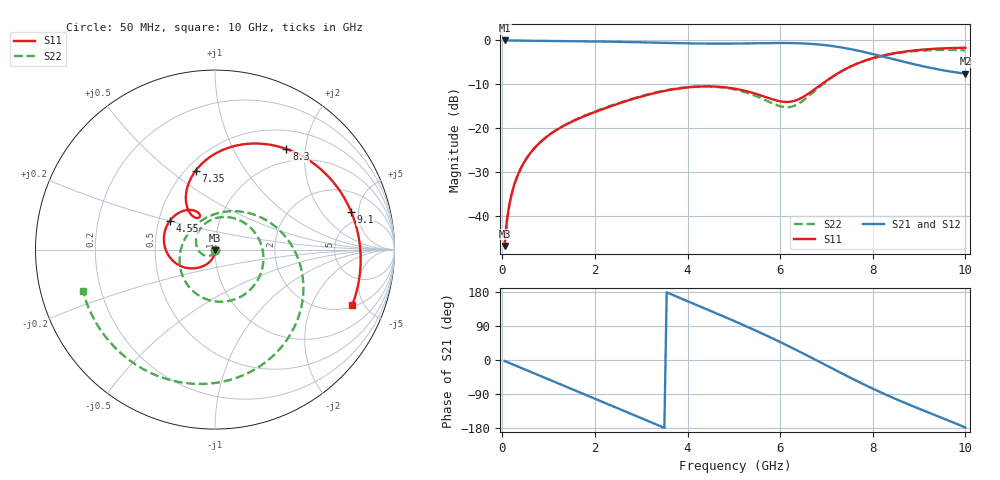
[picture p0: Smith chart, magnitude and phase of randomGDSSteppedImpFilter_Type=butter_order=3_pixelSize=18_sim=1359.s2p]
! freq	dB(S11)	phase(S11)	dB(S12)	phase(S12)
!  dB(S21)	phase(S21)	dB(S22)	phase(S22)
!S-par simulation data
#  GHz  S  DB  R 50
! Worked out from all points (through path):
!   200 points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, 50 MHz to 10 GHz, reference 50 ohm
!   highest |S21| = 0.00 dB at 50 MHz (marker M1); lowest = -7.6 dB at 10 GHz (marker M2)
!   group delay of S21, straight-line fit = 152 ps
!   lowest |S11| = -46.9 dB at 50 MHz (marker M3), VSWR 1.01, Z = 50 - j0.453 ohm
!   |S11| at or under -10 dB: start of sweep to 6.89 GHz
!   |S22| runs from -46.9 to -2.2 dB; largest |S21 - S12| = 0
!   S11 on the Smith chart (normalised r, x): 50 MHz: 1.00, -0.01; 4.55 GHz: 0.57, +0.20; 7.35 GHz: 0.56, +0.62; 8.3 GHz: 0.78, +1.66; 9.1 GHz: 3.70, +4.10; 10 GHz: 2.15, -4.12
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0.05  -46.88 -87.4  -0.00 -2.6  -0.00 -2.6  -46.92 -90.2
0.1  -41.04 -90.5  -0.01 -5.2  -0.01 -5.2  -41.09 -95.5
0.2  -35.10 -94.5  -0.02 -10.3  -0.02 -10.3  -35.15 -104.4
0.5  -27.28 -103.5  -0.04 -25.6  -0.04 -25.6  -27.33 -128.5
1.15  -20.55 -119.6  -0.11 -58.7  -0.11 -58.7  -20.52 -179.7
1.75  -17.37 -132.2  -0.18 -89.3  -0.18 -89.3  -17.28 131.6
2.5  -14.44 -147.6  -0.31 -127.7  -0.31 -127.7  -14.32 70.6
2.95  -12.95 -158.7  -0.42 -150.8  -0.42 -150.8  -12.84 35.9
3.4  -11.74 -171.9  -0.53 -173.9  -0.53 -173.9  -11.64 3.3
3.95  -10.77 169.7  -0.66 157.8  -0.66 157.8  -10.71 -34.0
4.55  -10.50 147.8  -0.73 126.9  -0.73 126.9  -10.54 -73.2
5.05  -11.05 130.0  -0.71 100.6  -0.71 100.6  -11.26 -107.2
5.85  -13.48 113.6  -0.60 56.2  -0.60 56.2  -14.42 179.7
6.25  -13.92 119.4  -0.61 32.5  -0.61 32.5  -15.10 121.2
6.7  -11.47 124.0  -0.81 4.6  -0.81 4.6  -11.96 57.5
7.35  -6.87 103.6  -1.65 -36.5  -1.65 -36.5  -6.91 -2.7
7.8  -4.74 81.0  -2.61 -63.9  -2.61 -63.9  -4.74 -34.1
8.3  -3.26 54.7  -3.89 -92.3  -3.89 -92.3  -3.31 -64.3
8.35  -3.15 52.1  -4.02 -95.1  -4.02 -95.1  -3.20 -67.2
9.1  -2.08 15.5  -5.93 -133.6  -5.93 -133.6  -2.30 -108.0
9.55  -1.79 -4.1  -6.87 -155.5  -6.87 -155.5  -2.16 -133.2
10  -1.67 -21.8  -7.58 -178.2  -7.58 -178.2  -2.26 -162.4
